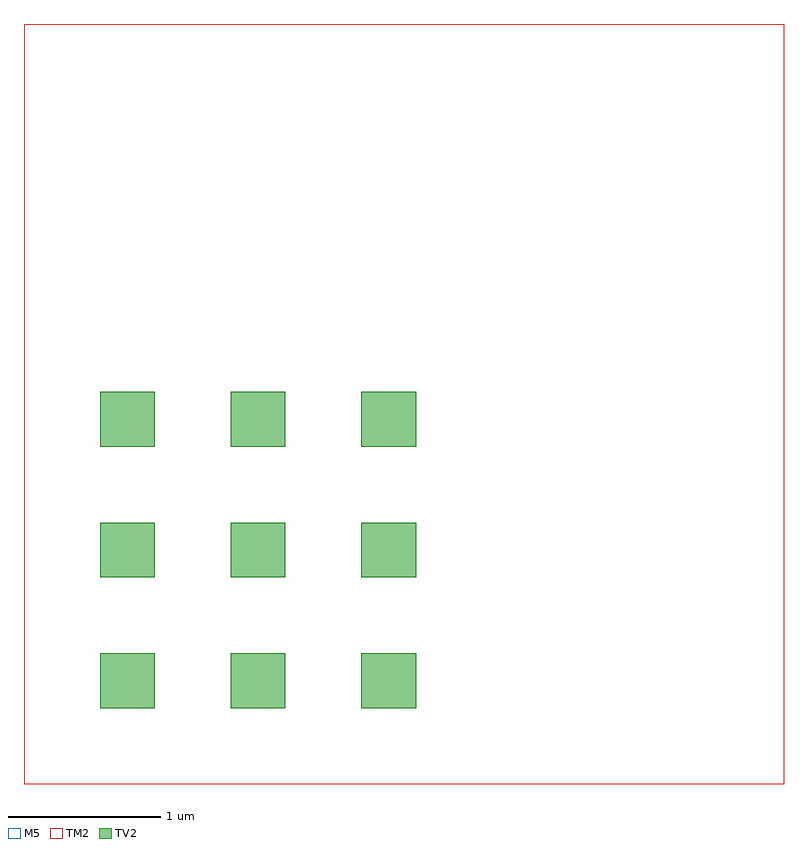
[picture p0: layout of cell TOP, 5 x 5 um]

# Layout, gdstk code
import gdstk
lib = gdstk.Library(unit=1e-6, precision=1e-09)
def R(c, l, rs):  # rectangles x0, y0, x1, y1
    for r in rs: c.add(gdstk.rectangle(r[:2], r[2:], *l))
def A(c, l, x, y, w, h, nx, ny, dx, dy):  # array of equal rectangles
    R(c, l, [(x+i*dx, y+j*dy, x+i*dx+w, y+j*dy+h) for i in range(nx) for j in range(ny)])
M5 = (85, 1)
TM2 = (103, 1)
TV2 = (113, 1)

top = lib.new_cell('TOP')
R(top, M5, [(2.5,2.5,7.5,7.5)])
R(top, TM2, [(2.5,2.5,7.5,7.5)])
A(top, TV2, 3, 3, 0.36, 0.36, 3, 3, 0.86, 0.86)

lib.write_gds('TOP.gds')
